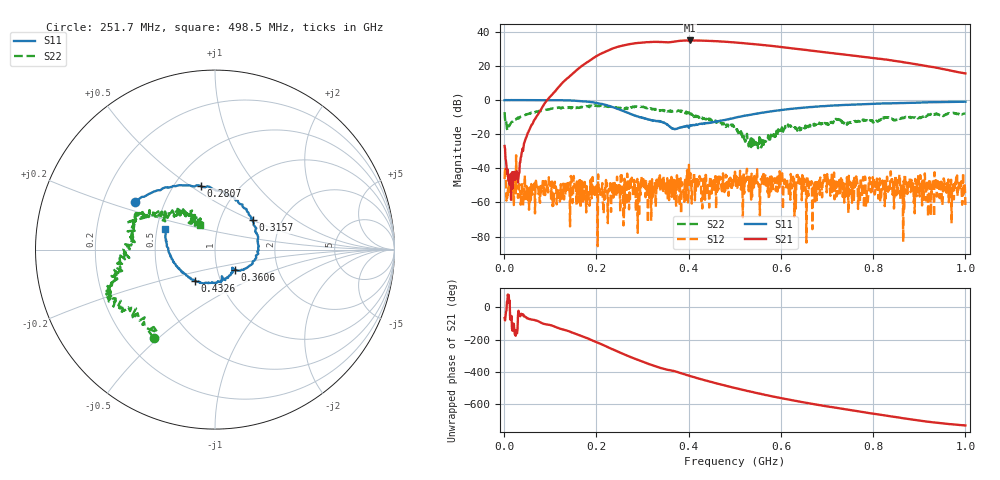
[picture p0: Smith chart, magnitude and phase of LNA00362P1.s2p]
! Created with skrf 1.9.0 (http://scikit-rf.org).
# Hz S RI R 50.0
!freq ReS11 ImS11 ReS21 ImS21 ReS12 ImS12 ReS22 ImS22
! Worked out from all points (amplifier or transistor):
!   1001 points, 1 MHz to 1 GHz, reference 50 ohm
!   highest |S21| = 34.9 dB at 403.6 MHz (marker M1)
!   |S21| within 3 dB of that: 257 MHz to 572.2 MHz (315.2 MHz wide, 76 % of centre)
!   unconditionally stable (mu >= 1): 4.512 MHz to 83.98 MHz; 204.1 MHz to 400.5 MHz; 400.8 MHz to end of sweep (the widest 3 of 31)
!   at 166.8 MHz: K = 1.54, MAG = 31.8 dB, |S12| = -52.7 dB
!   at 500.5 MHz: K = 1.29, MAG = 34.6 dB, |S12| = -41.9 dB
!   at 1 GHz: K = 15.97, MAG = 23.5 dB, |S12| = -61.5 dB
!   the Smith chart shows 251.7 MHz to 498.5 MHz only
!   S11 on the Smith chart (normalised r, x): 251.7 MHz: 0.34, +0.24; 280.7 MHz: 0.67, +0.55; 315.7 MHz: 1.43, +0.51; 360.6 MHz: 1.21, -0.29; 432.6 MHz: 0.76, -0.28; 498.5 MHz: 0.55, +0.14
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1000000  0.9881 0.00928  0.0182 -0.0414  -0.00431 -0.00223  0.3579 0.2588
1.07893e8  0.5168 -0.8517  -0.7516 -1.479  0.00105 0.000573  0.4299 -0.3722
1.67833e8  -0.2567 -0.8934  -9.873 -0.4996  0.00093 0.000659  0.0603 -0.6299
2.12788e8  -0.7001 -0.3124  -14.95 18.46  -0.000854 0.00361  -0.2187 -0.6335
2.31769e8  -0.6465 0.00696  -7.611 29.98  -0.00034 -0.000407  -0.2789 -0.5642
2.51749e8  -0.4436 0.2637  7.109 37.14  0.000537 -9.96e-05  -0.3413 -0.4916
2.8072e8  -0.0787 0.354  32.38 32  -0.00182 -0.000664  -0.5588 -0.2879
3.15685e8  0.2125 0.1635  49.82 5.557  -0.00102 0.00404  -0.549 -0.1248
3.34666e8  0.2415 0.00029  49.45 -10.42  -0.000347 0.00309  -0.505 -0.0403
3.6064e8  0.1113 -0.1157  42.77 -25.28  0.00103 0.00333  -0.4869 0.1022
3.79621e8  0.1007 -0.1165  38.19 -38.22  -0.00292 0.00384  -0.443 0.1877
4.03597e8  0.0328 -0.1819  21.92 -51.27  -3.42e-05 0.0073  -0.3156 0.2127
4.32568e8  -0.1106 -0.1759  -0.4876 -54.78  0.0034 0.00471  -0.2156 0.1887
4.65535e8  -0.2348 -0.0602  -22.9 -47.25  0.00323 0.00249  -0.1142 0.1756
4.98502e8  -0.2776 0.1141  -37.16 -31.9  0.00606 -0.00132  -0.0822 0.1369
5.005e8  -0.2828 0.1221  -37.97 -30.93  0.0015 0.00785  -0.0435 0.1379
5.41459e8  -0.1991 0.3337  -42.6 -9.226  0.00262 0.000882  -0.0504 0.0323
5.88412e8  0.00133 0.486  -35.76 10.91  0.00221 -0.00064  -0.069 -0.0506
6.67333e8  0.3862 0.4961  -14.16 23.84  0.00237 -0.000665  -0.1794 -0.0376
7.53247e8  0.6752 0.2839  3.22 20.03  0.000134 -0.00215  -0.2185 0.00507
8.34166e8  0.7996 0.0105  10.6 10.53  -0.00202 -0.00108  -0.2985 -0.0235
1e9  0.7197 -0.5342  5.867 -1.421  -0.000767 0.000353  -0.3231 0.2287
